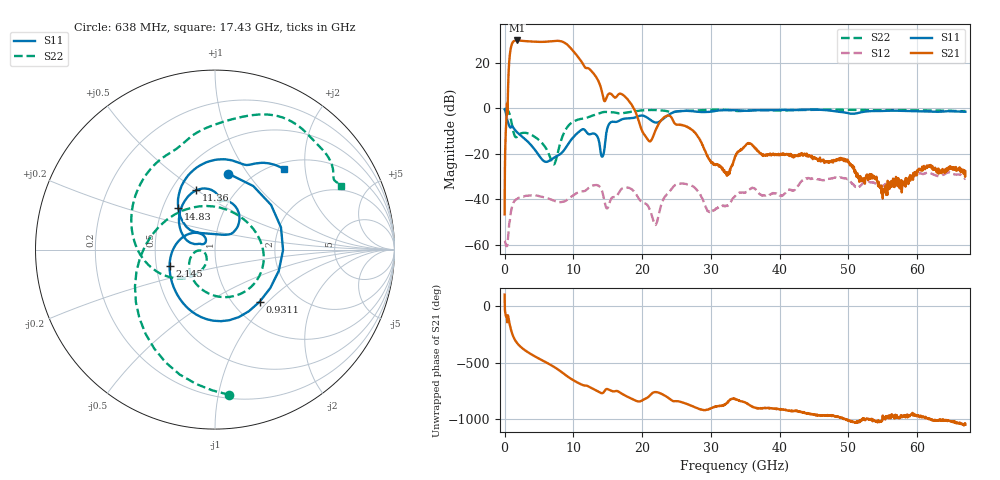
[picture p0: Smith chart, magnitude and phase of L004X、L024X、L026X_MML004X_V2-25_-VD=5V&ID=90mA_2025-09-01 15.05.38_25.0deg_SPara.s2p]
!Keysight Technologies,N5247B,MY63057157,A.17.10.07
!Date: Monday, September 01, 2025 15:12:36
!Correction: S11(C  2-Port  )
!S21(C  2-Port  )
!S12(C  2-Port  )
!S22(C  2-Port  )
!S2P File: Measurements: S11, S21, S12, S22:
# Hz S  dB  R 50
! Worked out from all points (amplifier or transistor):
!   1601 points, 10 MHz to 67 GHz, reference 50 ohm
!   highest |S21| = 29.8 dB at 1.81 GHz (marker M1)
!   |S21| within 3 dB of that: 938.2 MHz to 9.509 GHz (8.57 GHz wide, 164 % of centre)
!   unconditionally stable (mu >= 1): start of sweep to end of sweep
!   at 11.15 GHz: K = 2.01, MAG = 22.9 dB, |S12| = -36.6 dB
!   at 33.51 GHz: K = 20.04, MAG = -7.4 dB, |S12| = -38.7 dB
!   at 67 GHz: K = 32.42, MAG = -16.5 dB, |S12| = -31.0 dB
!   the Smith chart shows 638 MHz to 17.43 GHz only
!   S11 on the Smith chart (normalised r, x): 638 MHz: 0.79, +0.82; 931.1 MHz: 1.32, -0.89; 2.145 GHz: 0.59, -0.11; 11.36 GHz: 0.66, +0.50; 14.83 GHz: 0.60, +0.30; 17.43 GHz: 1.12, +1.55
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1e7  -0.48 -26.6  -46.69 101.8  -58.31 118.3  -0.15 -12.0
6.380312e8  -7.34 80.0  18.68 -126.1  -52.47 -119.9  -1.80 -84.4
9.311125e8  -8.35 -49.4  26.73 151.7  -45.45 166.8  -4.92 -137.9
1.3498e9  -8.83 -114.0  29.51 79.4  -41.24 111.0  -11.03 128.8
1.810356e9  -10.52 -144.3  29.83 33.6  -39.89 77.8  -12.55 39.5
2.145306e9  -11.43 -160.7  29.76 10.5  -39.32 63.0  -11.54 2.4
3.192025e9  -14.15 160.7  29.50 -40.7  -38.50 33.4  -10.88 -57.5
4.322481e9  -17.90 134.2  29.29 -82.8  -38.27 12.0  -12.43 -104.2
5.662281e9  -23.13 136.1  29.21 -126.6  -39.11 -5.9  -16.04 -154.8
7.127688e9  -21.89 157.9  29.55 -176.0  -40.62 -15.4  -24.72 -154.0
7.923194e9  -20.47 160.0  29.61 152.1  -41.28 -13.2  -17.28 -123.3
8.844306e9  -17.58 165.0  28.60 110.7  -40.76 -6.1  -9.60 -156.0
9.891025e9  -13.12 150.4  25.54 67.2  -38.54 -7.1  -6.10 160.4
1.118896e10  -9.47 114.7  20.52 25.3  -36.52 -22.2  -4.63 121.3
1.135643e10  -9.21 107.7  19.72 21.0  -36.50 -23.8  -4.56 117.4
1.483154e10  -10.26 131.7  4.76 -14.4  -43.95 -79.7  -1.62 54.5
1.74274e10  -4.58 49.4  5.35 -69.2  -34.87 -79.1  -2.06 26.8
2.236791e10  -6.13 -0.7  -7.11 -46.1  -47.46 27.0  -0.84 -18.3
3.3505e10  -0.84 -80.1  -21.52 -105.0  -38.70 -116.6  -1.11 -74.5
4.468396e10  -0.54 -124.7  -21.77 123.2  -30.80 172.8  -0.65 -108.8
5.586291e10  -1.09 -152.5  -35.61 111.4  -32.69 124.8  -0.81 -141.7
6.7e10  -1.54 179.4  -27.84 29.5  -31.04 56.1  -1.24 -175.3
